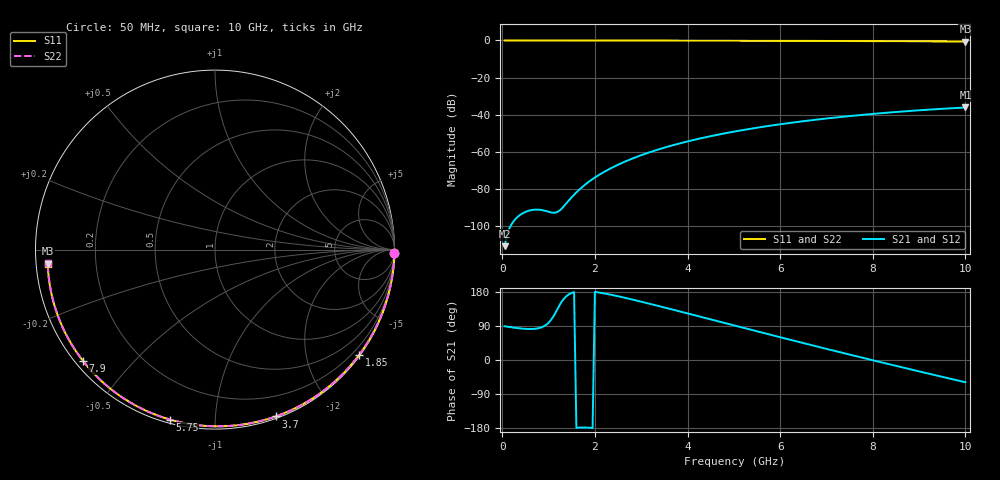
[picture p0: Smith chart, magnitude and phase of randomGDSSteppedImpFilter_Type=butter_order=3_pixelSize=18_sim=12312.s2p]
! freq	dB(S11)	phase(S11)	dB(S12)	phase(S12)
!  dB(S21)	phase(S21)	dB(S22)	phase(S22)
!S-par simulation data
#  GHz  S  DB  R 50
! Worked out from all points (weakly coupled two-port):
!   200 points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, 50 MHz to 10 GHz, reference 50 ohm
!   highest |S21| = -36.08 dB at 10 GHz (marker M1); lowest = -110.7 dB at 50 MHz (marker M2)
!   lowest |S11| = -0.6 dB at 10 GHz (marker M3), VSWR 29.83, Z = 1.68 - j2.07 ohm
!   |S11| at or under -10 dB: nowhere
!   |S22| runs from -0.6 to 0.0 dB; largest |S21 - S12| = 0
!   S11 on the Smith chart (normalised r, x): 50 MHz: open; 1.85 GHz: 0.03, -3.08; 3.7 GHz: 0.02, -1.43; 5.75 GHz: 0.02, -0.77; 7.9 GHz: 0.02, -0.37; 10 GHz: 0.03, -0.04
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0.05  -0.00 -1.0  -110.74 89.0  -110.74 89.0  -0.00 -1.0
0.45  -0.01 -8.9  -92.90 82.6  -92.90 82.6  -0.01 -8.9
0.85  -0.02 -16.8  -91.28 86.4  -91.28 86.4  -0.02 -16.8
1.65  -0.04 -32.2  -80.59 -178.5  -80.59 -178.5  -0.04 -32.2
1.7  -0.04 -33.2  -79.46 -178.1  -79.46 -178.1  -0.04 -33.2
1.75  -0.04 -34.1  -78.40 -177.9  -78.40 -177.9  -0.04 -34.1
1.85  -0.05 -36.0  -76.42 -178.4  -76.42 -178.4  -0.05 -36.0
2.15  -0.05 -41.7  -71.45 176.8  -71.45 176.8  -0.05 -41.7
2.5  -0.06 -48.2  -66.89 168.2  -66.89 168.2  -0.06 -48.3
2.9  -0.07 -55.6  -62.69 156.9  -62.69 156.9  -0.07 -55.6
3.4  -0.09 -64.7  -58.45 141.7  -58.45 141.7  -0.09 -64.7
3.7  -0.09 -70.0  -56.29 132.4  -56.29 132.4  -0.09 -70.0
4.35  -0.12 -81.4  -52.32 111.9  -52.32 111.9  -0.12 -81.4
5.05  -0.14 -93.3  -48.86 89.8  -48.86 89.8  -0.14 -93.3
5.75  -0.18 -104.9  -46.01 67.8  -46.01 67.8  -0.18 -105.0
6.2  -0.20 -112.3  -44.43 53.9  -44.43 53.9  -0.20 -112.3
6.7  -0.24 -120.4  -42.86 38.5  -42.86 38.5  -0.24 -120.5
7.3  -0.28 -130.1  -41.21 20.3  -41.21 20.3  -0.28 -130.1
7.9  -0.33 -139.8  -39.76 2.3  -39.76 2.3  -0.33 -139.9
8.35  -0.38 -147.1  -38.81 -11.0  -38.81 -11.0  -0.38 -147.2
9.2  -0.48 -161.3  -37.25 -35.9  -37.25 -35.9  -0.48 -161.4
10  -0.58 -175.2  -36.08 -58.7  -36.08 -58.7  -0.58 -175.4
